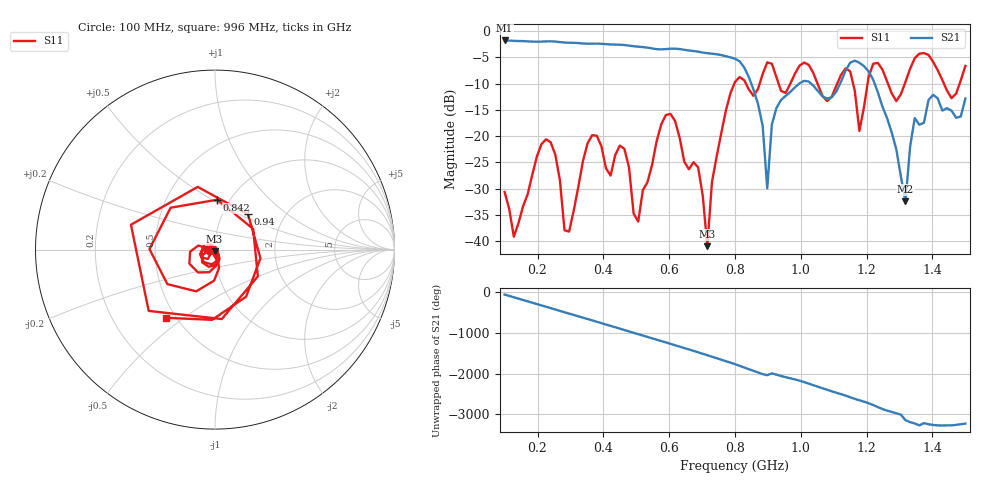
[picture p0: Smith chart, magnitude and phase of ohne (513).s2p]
! NanoVNA-App
! Date: 2025-09-25 14:24:47
! Start: 100MHz Stop: 1,5GHz Points: 101
! S-Parameter data: F S11 S21 S12 S22
# Hz S RI R 50
!  Frequency  S11_Real  S11_Imag  S21_Real  S21_Imag  S12_Real  S12_Imag  S22_Real  S22_Imag
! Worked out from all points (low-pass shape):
!   101 points, 100 MHz to 1.5 GHz, reference 50 ohm
!   highest |S21| = -1.79 dB at 100 MHz (marker M1); lowest = -32.4 dB at 1.318 GHz (marker M2)
!   |S21| within 3 dB of the highest: start of sweep to 772 MHz
!   lowest |S11| = -41.0 dB at 716 MHz (marker M3), VSWR 1.02, Z = 49.7 - j0.856 ohm
!   |S11| at or under -10 dB: start of sweep to 798 MHz; 833 MHz to 875 MHz (42 MHz wide, 4.92 % of centre); 1.051 GHz to 1.111 GHz (60.09 MHz wide, 5.56 % of centre) (the widest 3 of 7)
!   S12 and S22 are empty: the file has one direction only
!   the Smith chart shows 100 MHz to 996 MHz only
!   S11 on the Smith chart (normalised r, x): 100 MHz: 0.94, -0.01; 842 MHz: 0.88, +0.53; 940 MHz: 1.32, +0.56; 996 MHz: 0.44, -0.43
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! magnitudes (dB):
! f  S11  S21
! 100 MHz  -30.6  -1.8
! 128 MHz  -39.2  -1.9
! 226 MHz  -20.6  -2.0
! 296 MHz  -38.2  -2.2
! 338 MHz  -24.7  -2.4
! 464 MHz  -22.4  -2.7
! 506 MHz  -36.3  -3.0
! 576 MHz  -17.8  -3.5
! 688 MHz  -25.9  -3.9
! 716 MHz  -41.0  -4.2
! 800 MHz  -9.7  -5.3
! 842 MHz  -11.1  -8.8
! 898 MHz  -6.0  -29.9
! 940 MHz  -11.4  -13.1
! 996 MHz  -6.6  -10.0
! 1.038 GHz  -8.0  -10.4
! 1.178 GHz  -19.0  -6.0
! 1.22 GHz  -6.2  -9.3
! 1.276 GHz  -11.8  -19.3
! 1.318 GHz  -9.7  -32.4
! 1.346 GHz  -5.2  -16.6
! 1.5 GHz  -6.6  -12.9
